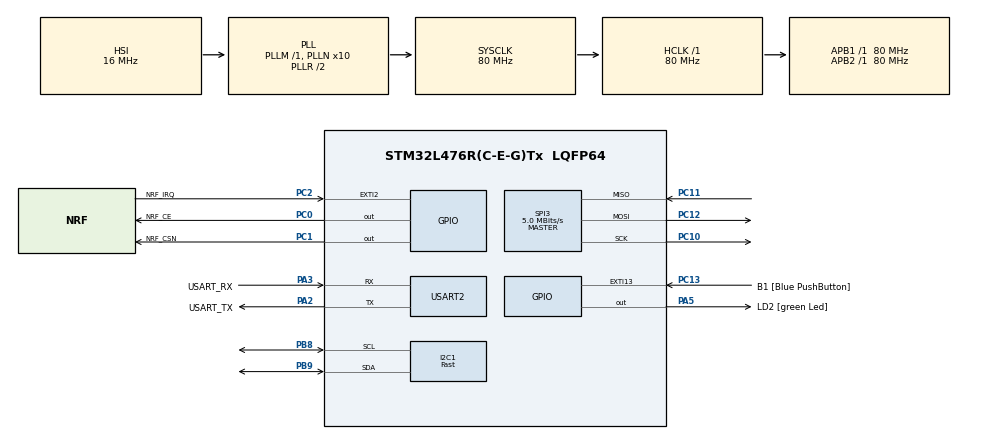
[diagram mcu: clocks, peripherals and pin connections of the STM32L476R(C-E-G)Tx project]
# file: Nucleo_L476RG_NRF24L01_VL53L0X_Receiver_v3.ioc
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I2C1.I2C_Speed_Mode=I2C_Fast
I2C1.Timing=0x00702991
Mcu.Family=STM32L4
Mcu.Name=STM32L476R(C-E-G)Tx
Mcu.Package=LQFP64
NVIC.PriorityGroup=NVIC_PRIORITYGROUP_4
PA13\ (JTMS-SWDIO).GPIO_Label=TMS
PA13\ (JTMS-SWDIO).Mode=Serial_Wire
PA13\ (JTMS-SWDIO).Signal=SYS_JTMS-SWDIO
PA14\ (JTCK-SWCLK).GPIO_Label=TCK
PA14\ (JTCK-SWCLK).Mode=Serial_Wire
PA14\ (JTCK-SWCLK).Signal=SYS_JTCK-SWCLK
PA2.GPIO_Label=USART_TX
PA2.GPIO_Mode=GPIO_MODE_AF_PP
PA2.GPIO_PuPd=GPIO_NOPULL
PA2.GPIO_Speed=GPIO_SPEED_FREQ_VERY_HIGH
PA2.Mode=Asynchronous
PA2.Signal=USART2_TX
PA3.GPIO_Label=USART_RX
PA3.GPIO_Mode=GPIO_MODE_AF_PP
PA3.GPIO_PuPd=GPIO_NOPULL
PA3.GPIO_Speed=GPIO_SPEED_FREQ_VERY_HIGH
PA3.Mode=Asynchronous
PA3.Signal=USART2_RX
PA5.GPIO_Label=LD2 [green Led]
PA5.GPIO_ModeDefaultOutputPP=GPIO_MODE_OUTPUT_PP
PA5.GPIO_PuPd=GPIO_NOPULL
PA5.GPIO_Speed=GPIO_SPEED_FREQ_LOW
PA5.Signal=GPIO_Output
PB3\ (JTDO-TRACESWO).GPIO_Label=SWO
PB3\ (JTDO-TRACESWO).Signal=SYS_JTDO-SWO
PB8.Mode=I2C
PB8.Signal=I2C1_SCL
PB9.Mode=I2C
PB9.Signal=I2C1_SDA
PC0.GPIO_Label=NRF_CE
PC0.Signal=GPIO_Output
PC1.GPIO_Label=NRF_CSN
PC1.Signal=GPIO_Output
PC10.Mode=Full_Duplex_Master
PC10.Signal=SPI3_SCK
PC11.Mode=Full_Duplex_Master
PC11.Signal=SPI3_MISO
PC12.Mode=Full_Duplex_Master
PC12.Signal=SPI3_MOSI
PC13.GPIO_Label=B1 [Blue PushButton]
PC13.GPIO_ModeDefaultEXTI=GPIO_MODE_IT_FALLING
PC13.GPIO_PuPd=GPIO_NOPULL
PC13.Signal=GPXTI13
PC14-OSC32_IN\ (PC14).Mode=LSE-External-Oscillator
PC14-OSC32_IN\ (PC14).Signal=RCC_OSC32_IN
PC15-OSC32_OUT\ (PC15).Mode=LSE-External-Oscillator
PC15-OSC32_OUT\ (PC15).Signal=RCC_OSC32_OUT
PC2.GPIO_Label=NRF_IRQ
PC2.Signal=GPXTI2
PH0-OSC_IN\ (PH0).Signal=RCC_OSC_IN
PH1-OSC_OUT\ (PH1).Signal=RCC_OSC_OUT
ProjectManager.HeapSize=0x200
ProjectManager.StackSize=0x400
ProjectManager.TargetToolchain=STM32CubeIDE
RCC.ADCFreq_Value=64000000
RCC.AHBFreq_Value=80000000
RCC.APB1Freq_Value=80000000
RCC.APB1TimFreq_Value=80000000
RCC.APB2Freq_Value=80000000
RCC.APB2TimFreq_Value=80000000
RCC.CortexFreq_Value=80000000
RCC.HCLKFreq_Value=80000000
RCC.HSE_VALUE=8000000
RCC.HSI_VALUE=16000000
RCC.MSI_VALUE=4000000
RCC.PLLN=10
RCC.PLLSourceVirtual=RCC_PLLSOURCE_HSI
RCC.PREFETCH_ENABLE=1
RCC.SYSCLKFreq_VALUE=80000000
RCC.SYSCLKSource=RCC_SYSCLKSOURCE_PLLCLK
RCC.USBFreq_Value=64000000
RCC.VCOOutputFreq_Value=160000000
SPI3.BaudRatePrescaler=SPI_BAUDRATEPRESCALER_16
SPI3.CalculateBaudRate=5.0 MBits/s
SPI3.DataSize=SPI_DATASIZE_8BIT
SPI3.Direction=SPI_DIRECTION_2LINES
SPI3.Mode=SPI_MODE_MASTER
SPI3.VirtualType=VM_MASTER
USART2.VirtualMode-Asynchronous=VM_ASYNC
board=NUCLEO-L476RG

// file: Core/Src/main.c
/* USER CODE BEGIN Header */
/**
  ******************************************************************************
  * @file           : main.c
  * @brief          : Main program body
  ******************************************************************************
  * @attention
  *
  * Copyright (c) 2022 STMicroelectronics.
  * All rights reserved.
  *
  * This software is licensed under terms that can be found in the LICENSE file
  * in the root directory of this software component.
  * If no LICENSE file comes with this software, it is provided AS-IS.
  *
  ******************************************************************************
  */
/* USER CODE END Header */
#include "main.h"

/* USER CODE BEGIN Includes */
#include <i2c_HD44780.h>
/* USER CODE END Includes */

I2C_HandleTypeDef hi2c1;

SPI_HandleTypeDef hspi3;

UART_HandleTypeDef huart2;

void SystemClock_Config(void);
static void MX_GPIO_Init(void);
static void MX_SPI3_Init(void);
static void MX_USART2_UART_Init(void);
static void MX_I2C1_Init(void);
/* USER CODE BEGIN PFP */

void runRadio(void);

/* USER CODE END PFP */

/* USER CODE BEGIN 0 */

// UART2 is connected to st-link
int _write(int file, char *ptr, int len)
{
	HAL_UART_Transmit(&huart2,(uint8_t *)ptr,len,10);
	return len;
}

/* USER CODE END 0 */

int main(void)
{

  /* MCU Configuration--------------------------------------------------------*/

  /* Reset of all peripherals, Initializes the Flash interface and the Systick. */
  HAL_Init();

  /* Configure the system clock */
  SystemClock_Config();

  /* Initialize all configured peripherals */
  MX_GPIO_Init();
  MX_SPI3_Init();
  MX_USART2_UART_Init();
  MX_I2C1_Init();
  /* USER CODE BEGIN 2 */

  if (HAL_SPIEx_FlushRxFifo(&hspi3) != HAL_OK){
	  Error_Handler();
  }

#ifdef HD44780
  lcd_init ();

  lcd_clear_display();
  lcd_home();

  lcd_locate(1, 1);
  lcd_print_string ("Phelma");

  lcd_locate(2, 1); // 2nd row
  lcd_print_string ("Engineering School");
  HAL_Delay (2000);  // wait for 2 sec

  lcd_locate(3, 1); // 2nd row
  lcd_print_string ("Grenoble");
  HAL_Delay (2000);  // wait for 2 sec
#endif

  runRadio();

  /* USER CODE END 2 */

  /* Infinite loop */
  while (1)
  {

  }
}

void SystemClock_Config(void)
{
  RCC_OscInitTypeDef RCC_OscInitStruct = {0};
  RCC_ClkInitTypeDef RCC_ClkInitStruct = {0};

  /** Configure the main internal regulator output voltage
  */
  if (HAL_PWREx_ControlVoltageScaling(PWR_REGULATOR_VOLTAGE_SCALE1) != HAL_OK)
  {
    Error_Handler();
  }
  /** Initializes the RCC Oscillators according to the specified parameters
  * in the RCC_OscInitTypeDef structure.
  */
  RCC_OscInitStruct.OscillatorType = RCC_OSCILLATORTYPE_HSI;
  RCC_OscInitStruct.HSIState = RCC_HSI_ON;
  RCC_OscInitStruct.HSICalibrationValue = RCC_HSICALIBRATION_DEFAULT;
  RCC_OscInitStruct.PLL.PLLState = RCC_PLL_ON;
  RCC_OscInitStruct.PLL.PLLSource = RCC_PLLSOURCE_HSI;
  RCC_OscInitStruct.PLL.PLLM = 1;
  RCC_OscInitStruct.PLL.PLLN = 10;
  RCC_OscInitStruct.PLL.PLLP = RCC_PLLP_DIV7;
  RCC_OscInitStruct.PLL.PLLQ = RCC_PLLQ_DIV2;
  RCC_OscInitStruct.PLL.PLLR = RCC_PLLR_DIV2;
  if (HAL_RCC_OscConfig(&RCC_OscInitStruct) != HAL_OK)
  {
    Error_Handler();
  }
  /** Initializes the CPU, AHB and APB buses clocks
  */
  RCC_ClkInitStruct.ClockType = RCC_CLOCKTYPE_HCLK|RCC_CLOCKTYPE_SYSCLK
                              |RCC_CLOCKTYPE_PCLK1|RCC_CLOCKTYPE_PCLK2;
  RCC_ClkInitStruct.SYSCLKSource = RCC_SYSCLKSOURCE_PLLCLK;
  RCC_ClkInitStruct.AHBCLKDivider = RCC_SYSCLK_DIV1;
  RCC_ClkInitStruct.APB1CLKDivider = RCC_HCLK_DIV1;
  RCC_ClkInitStruct.APB2CLKDivider = RCC_HCLK_DIV1;

  if (HAL_RCC_ClockConfig(&RCC_ClkInitStruct, FLASH_LATENCY_4) != HAL_OK)
  {
    Error_Handler();
  }
}

static void MX_I2C1_Init(void)
{

  hi2c1.Instance = I2C1;
  hi2c1.Init.Timing = 0x00702991;
  hi2c1.Init.OwnAddress1 = 0;
  hi2c1.Init.AddressingMode = I2C_ADDRESSINGMODE_7BIT;
  hi2c1.Init.DualAddressMode = I2C_DUALADDRESS_DISABLE;
  hi2c1.Init.OwnAddress2 = 0;
  hi2c1.Init.OwnAddress2Masks = I2C_OA2_NOMASK;
  hi2c1.Init.GeneralCallMode = I2C_GENERALCALL_DISABLE;
  hi2c1.Init.NoStretchMode = I2C_NOSTRETCH_DISABLE;
  if (HAL_I2C_Init(&hi2c1) != HAL_OK)
  {
    Error_Handler();
  }
  /** Configure Analogue filter
  */
  if (HAL_I2CEx_ConfigAnalogFilter(&hi2c1, I2C_ANALOGFILTER_ENABLE) != HAL_OK)
  {
    Error_Handler();
  }
  /** Configure Digital filter
  */
  if (HAL_I2CEx_ConfigDigitalFilter(&hi2c1, 0) != HAL_OK)
  {
    Error_Handler();
  }

}

static void MX_SPI3_Init(void)
{

  /* SPI3 parameter configuration*/
  hspi3.Instance = SPI3;
  hspi3.Init.Mode = SPI_MODE_MASTER;
  hspi3.Init.Direction = SPI_DIRECTION_2LINES;
  hspi3.Init.DataSize = SPI_DATASIZE_8BIT;
  hspi3.Init.CLKPolarity = SPI_POLARITY_LOW;
  hspi3.Init.CLKPhase = SPI_PHASE_1EDGE;
  hspi3.Init.NSS = SPI_NSS_SOFT;
  hspi3.Init.BaudRatePrescaler = SPI_BAUDRATEPRESCALER_16;
  hspi3.Init.FirstBit = SPI_FIRSTBIT_MSB;
  hspi3.Init.TIMode = SPI_TIMODE_DISABLE;
  hspi3.Init.CRCCalculation = SPI_CRCCALCULATION_DISABLE;
  hspi3.Init.CRCPolynomial = 7;
  hspi3.Init.CRCLength = SPI_CRC_LENGTH_DATASIZE;
  hspi3.Init.NSSPMode = SPI_NSS_PULSE_ENABLE;
  if (HAL_SPI_Init(&hspi3) != HAL_OK)
  {
    Error_Handler();
  }

}

static void MX_USART2_UART_Init(void)
{

  huart2.Instance = USART2;
  huart2.Init.BaudRate = 115200;
  huart2.Init.WordLength = UART_WORDLENGTH_8B;
  huart2.Init.StopBits = UART_STOPBITS_1;
  huart2.Init.Parity = UART_PARITY_NONE;
  huart2.Init.Mode = UART_MODE_TX_RX;
  huart2.Init.HwFlowCtl = UART_HWCONTROL_NONE;
  huart2.Init.OverSampling = UART_OVERSAMPLING_16;
  huart2.Init.OneBitSampling = UART_ONE_BIT_SAMPLE_DISABLE;
  huart2.AdvancedInit.AdvFeatureInit = UART_ADVFEATURE_NO_INIT;
  if (HAL_UART_Init(&huart2) != HAL_OK)
  {
    Error_Handler();
  }

}

static void MX_GPIO_Init(void)
{
  GPIO_InitTypeDef GPIO_InitStruct = {0};

  /* GPIO Ports Clock Enable */
  __HAL_RCC_GPIOC_CLK_ENABLE();
  __HAL_RCC_GPIOH_CLK_ENABLE();
  __HAL_RCC_GPIOA_CLK_ENABLE();
  __HAL_RCC_GPIOB_CLK_ENABLE();

  /*Configure GPIO pin Output Level */
  HAL_GPIO_WritePin(GPIOC, NRF_CE_Pin|NRF_CSN_Pin, GPIO_PIN_RESET);

  /*Configure GPIO pin Output Level */
  HAL_GPIO_WritePin(LD2_GPIO_Port, LD2_Pin, GPIO_PIN_RESET);

  /*Configure GPIO pin : B1_Pin */
  GPIO_InitStruct.Pin = B1_Pin;
  GPIO_InitStruct.Mode = GPIO_MODE_IT_FALLING;
  GPIO_InitStruct.Pull = GPIO_NOPULL;
  HAL_GPIO_Init(B1_GPIO_Port, &GPIO_InitStruct);

  /*Configure GPIO pins : NRF_CE_Pin NRF_CSN_Pin */
  GPIO_InitStruct.Pin = NRF_CE_Pin|NRF_CSN_Pin;
  GPIO_InitStruct.Mode = GPIO_MODE_OUTPUT_PP;
  GPIO_InitStruct.Pull = GPIO_NOPULL;
  GPIO_InitStruct.Speed = GPIO_SPEED_FREQ_LOW;
  HAL_GPIO_Init(GPIOC, &GPIO_InitStruct);

  /*Configure GPIO pin : NRF_IRQ_Pin */
  GPIO_InitStruct.Pin = NRF_IRQ_Pin;
  GPIO_InitStruct.Mode = GPIO_MODE_IT_RISING;
  GPIO_InitStruct.Pull = GPIO_NOPULL;
  HAL_GPIO_Init(NRF_IRQ_GPIO_Port, &GPIO_InitStruct);

  /*Configure GPIO pin : LD2_Pin */
  GPIO_InitStruct.Pin = LD2_Pin;
  GPIO_InitStruct.Mode = GPIO_MODE_OUTPUT_PP;
  GPIO_InitStruct.Pull = GPIO_NOPULL;
  GPIO_InitStruct.Speed = GPIO_SPEED_FREQ_LOW;
  HAL_GPIO_Init(LD2_GPIO_Port, &GPIO_InitStruct);

}

void Error_Handler(void)
{
  __disable_irq();
  while (1)
  {
  }
}
